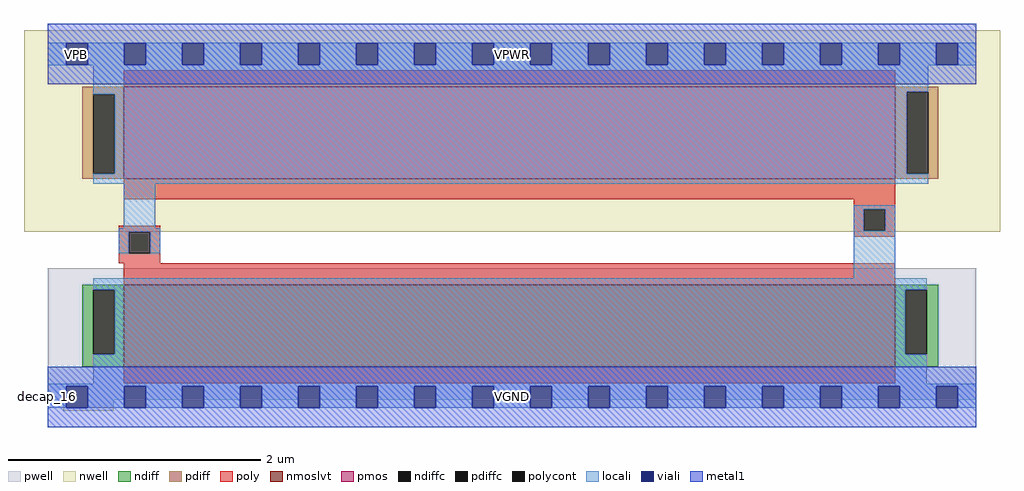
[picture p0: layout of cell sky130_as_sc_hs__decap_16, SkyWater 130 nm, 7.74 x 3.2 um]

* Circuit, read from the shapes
.subckt sky130_as_sc_hs__decap_16 VNB VPB VPWR VGND
XM1 VGND VPWR VGND VNB sky130_fd_pr__nfet_01v8_lvt w=0.65 l=6.12
XM2 VPWR VGND VPWR VPB sky130_fd_pr__pfet_01v8 w=0.73 l=6.12
.ends

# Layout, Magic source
magic
tech sky130A
magscale 1 2
<< nwell >>
rect -38 262 1510 582
<< pwell >>
rect 0 -4 1472 204
rect 24 -22 104 -4
<< pmos >>
rect 120 346 1344 492
<< nmoslvt >>
rect 120 48 1344 178
<< ndiff >>
rect 54 170 120 178
rect 54 68 72 170
rect 106 68 120 170
rect 54 48 120 68
rect 1344 170 1412 178
rect 1344 68 1360 170
rect 1394 68 1412 170
rect 1344 48 1412 68
<< pdiff >>
rect 54 480 120 492
rect 54 354 72 480
rect 106 354 120 480
rect 54 346 120 354
rect 1344 484 1412 492
rect 1344 354 1362 484
rect 1396 354 1412 484
rect 1344 346 1412 354
<< ndiffc >>
rect 72 68 106 170
rect 1360 68 1394 170
<< pdiffc >>
rect 72 354 106 480
rect 1362 354 1396 484
<< poly >>
rect 120 492 1344 518
rect 120 314 1344 346
rect 1278 298 1344 314
rect 112 262 178 272
rect 112 228 128 262
rect 162 228 178 262
rect 1278 264 1294 298
rect 1328 264 1344 298
rect 1278 254 1344 264
rect 112 212 178 228
rect 120 178 1344 212
rect 120 22 1344 48
<< polycont >>
rect 128 228 162 262
rect 1294 264 1328 298
<< locali >>
rect 0 561 1472 562
rect 0 527 29 561
rect 63 527 121 561
rect 155 527 213 561
rect 247 527 305 561
rect 339 527 397 561
rect 431 527 489 561
rect 523 527 581 561
rect 615 527 673 561
rect 707 527 765 561
rect 799 527 857 561
rect 891 527 949 561
rect 983 527 1041 561
rect 1075 527 1133 561
rect 1167 527 1225 561
rect 1259 527 1317 561
rect 1351 527 1409 561
rect 1443 527 1472 561
rect 0 526 1472 527
rect 72 484 1396 526
rect 72 480 1362 484
rect 106 354 1362 480
rect 72 338 1396 354
rect 120 268 170 338
rect 1278 298 1344 304
rect 112 262 178 268
rect 112 228 128 262
rect 162 228 178 262
rect 1278 264 1294 298
rect 1328 264 1344 298
rect 1278 188 1344 264
rect 72 170 1394 188
rect 106 68 1360 170
rect 72 21 1394 68
rect 0 17 1472 21
rect 0 -17 29 17
rect 63 -17 121 17
rect 155 -17 213 17
rect 247 -17 305 17
rect 339 -17 397 17
rect 431 -17 489 17
rect 523 -17 581 17
rect 615 -17 673 17
rect 707 -17 765 17
rect 799 -17 857 17
rect 891 -17 949 17
rect 983 -17 1041 17
rect 1075 -17 1133 17
rect 1167 -17 1225 17
rect 1259 -17 1317 17
rect 1351 -17 1409 17
rect 1443 -17 1472 17
<< viali >>
rect 29 527 63 561
rect 121 527 155 561
rect 213 527 247 561
rect 305 527 339 561
rect 397 527 431 561
rect 489 527 523 561
rect 581 527 615 561
rect 673 527 707 561
rect 765 527 799 561
rect 857 527 891 561
rect 949 527 983 561
rect 1041 527 1075 561
rect 1133 527 1167 561
rect 1225 527 1259 561
rect 1317 527 1351 561
rect 1409 527 1443 561
rect 29 -17 63 17
rect 121 -17 155 17
rect 213 -17 247 17
rect 305 -17 339 17
rect 397 -17 431 17
rect 489 -17 523 17
rect 581 -17 615 17
rect 673 -17 707 17
rect 765 -17 799 17
rect 857 -17 891 17
rect 949 -17 983 17
rect 1041 -17 1075 17
rect 1133 -17 1167 17
rect 1225 -17 1259 17
rect 1317 -17 1351 17
rect 1409 -17 1443 17
<< metal1 >>
rect 0 561 1472 592
rect 0 527 29 561
rect 63 527 121 561
rect 155 527 213 561
rect 247 527 305 561
rect 339 527 397 561
rect 431 527 489 561
rect 523 527 581 561
rect 615 527 673 561
rect 707 527 765 561
rect 799 527 857 561
rect 891 527 949 561
rect 983 527 1041 561
rect 1075 527 1133 561
rect 1167 527 1225 561
rect 1259 527 1317 561
rect 1351 527 1409 561
rect 1443 527 1472 561
rect 0 496 1472 527
rect 0 17 1472 48
rect 0 -17 29 17
rect 63 -17 121 17
rect 155 -17 213 17
rect 247 -17 305 17
rect 339 -17 397 17
rect 431 -17 489 17
rect 523 -17 581 17
rect 615 -17 673 17
rect 707 -17 765 17
rect 799 -17 857 17
rect 891 -17 949 17
rect 983 -17 1041 17
rect 1075 -17 1133 17
rect 1167 -17 1225 17
rect 1259 -17 1317 17
rect 1351 -17 1409 17
rect 1443 -17 1472 17
rect 0 -48 1472 -17
<< labels >>
rlabel comment s 0 0 0 0 4 decap_16
flabel pwell s 29 -17 63 17 0 FreeSans 200 0 0 0 VNB
port 1 nsew ground bidirectional
flabel pwell s 46 0 46 0 0 FreeSans 200 0 0 0 VNB
flabel nwell s 29 527 63 561 0 FreeSans 200 0 0 0 VPB
port 2 nsew power bidirectional
flabel nwell s 46 544 46 544 0 FreeSans 200 0 0 0 VPB
flabel metal1 s 29 527 63 561 0 FreeSans 200 0 0 0 VPWR
port 3 nsew power bidirectional abutment
flabel metal1 s 29 -17 63 17 0 FreeSans 200 0 0 0 VGND
port 4 nsew ground bidirectional abutment
rlabel metal1 s 0 -48 1472 48 1 VGND
port 4 nsew ground bidirectional abutment
rlabel metal1 s 0 496 1472 592 1 VPWR
port 3 nsew power bidirectional abutment
<< properties >>
string FIXED_BBOX 0 0 1472 544
string GDS_FILE $PDKPATH/libs.ref/sky130_as_sc_hs/gds/sky130_as_sc_hs__decap_16.gds
string LEFclass CORE
string LEFsite unithd
string LEFsymmetry X Y R90
string MASKHINTS_LVTN 0 -4 1472 222
string MASKHINTS_NSDM 0 -38 1472 203
string MASKHINTS_PSDM 0 321 1472 582
<< end >>
